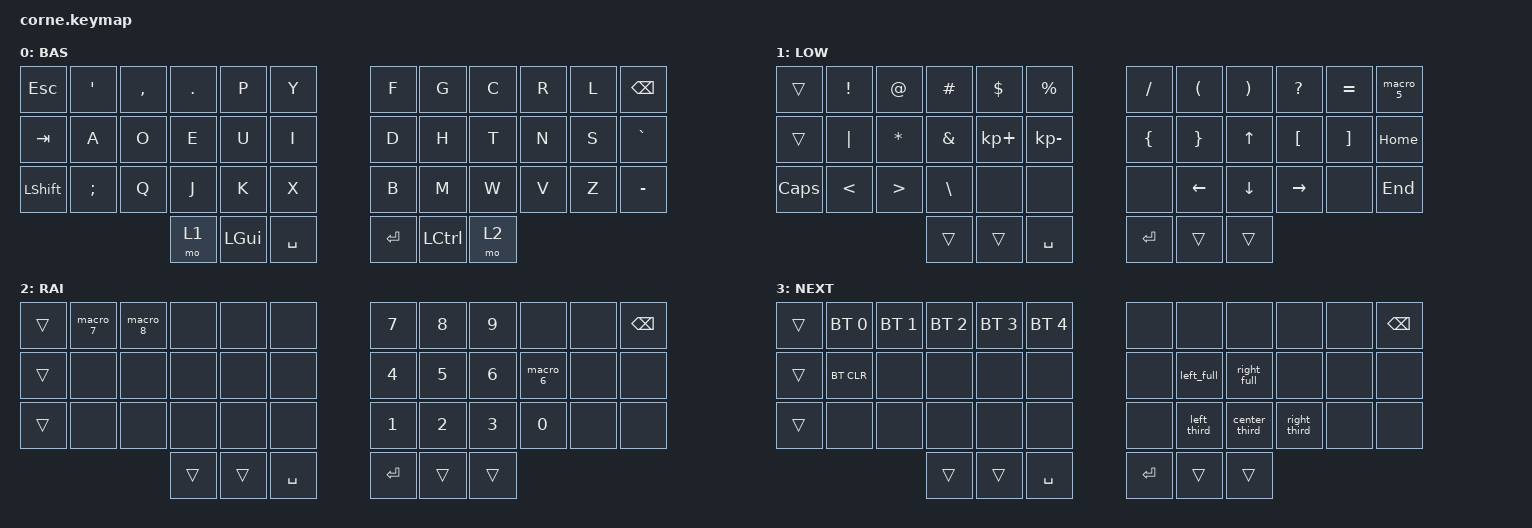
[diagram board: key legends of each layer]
/*
 * Copyright (c) 2020 The ZMK Contributors
 *
 * SPDX-License-Identifier: MIT
 */

#include <behaviors.dtsi>
#include <dt-bindings/zmk/keys.h>
#include <dt-bindings/zmk/bt.h>

/ {


        macros {

                // VIA macro 0: {KC_RALT,KC_LCTL,KC_RGHT}
                macro_0: macro_0 {
                        compatible = "zmk,behavior-macro";
                        #binding-cells = <0>;
                        bindings = <
                        &macro_press 
                        &kp RALT
                        &kp LCTRL
                        &kp RIGHT
                        >
                        ,<&macro_release  
                                &kp RALT
                                &kp LCTRL
                                &kp RIGHT     
                        >
                        ;
                };

                // VIA macro 1: {KC_RALT,KC_LCTL,KC_LEFT}
                macro_1: macro_1 {
                        compatible = "zmk,behavior-macro";
                        #binding-cells = <0>;
                        bindings = <
                        &macro_press 
                        &kp RALT
                        &kp LCTRL
                        &kp LEFT
                        >
                        ,<
                        &macro_release 
                        &kp RALT
                        &kp LCTRL
                        &kp LEFT
                        >
                        ;
                };

                // VIA macro 2: {KC_RALT,KC_LCTL,KC_ENT}
                macro_2: macro_2 {
                        compatible = "zmk,behavior-macro";
                        #binding-cells = <0>;
                        bindings = <
                        &macro_press 
                        &kp RALT
                        &kp LCTRL
                        &kp ENTER
                        >
                        ,<
                        &macro_release 
                        &kp RALT
                        &kp LCTRL
                        &kp ENTER
                        >
                        ;
                };

                // VIA macro 3: {KC_RALT,KC_LCTL,KC_UP}
                macro_3: macro_3 {
                        compatible = "zmk,behavior-macro";
                        #binding-cells = <0>;
                        bindings = <
                        &macro_press 
                        &kp RALT
                        &kp LCTRL
                        &kp UP
                        >
                        ,<
                        &macro_release
                        &kp RALT
                        &kp LCTRL
                        &kp UP
                        >
                        ;
                };

                // VIA macro 4: {KC_RALT,KC_LCTL,KC_DOWN}
                macro_4: macro_4 {
                        compatible = "zmk,behavior-macro";
                        #binding-cells = <0>;
                        bindings = <
                        &macro_press 
                        &kp RALT
                        &kp LCTRL
                        &kp DOWN
                        >,
                        <
                        &macro_release
                        &kp RALT
                        &kp LCTRL
                        &kp DOWN
                        >;
                };

                // VIA macro 5: {KC_RALT,KC_E}
                macro_5: macro_5 {
                        compatible = "zmk,behavior-macro";
                        #binding-cells = <0>;
                        bindings = <
                        &macro_press 
                        &kp RALT
                        &kp E
                        >
                        ,<
                        &macro_release 
                        &kp RALT
                        &kp E
                        >
                        ;
                };

                // VIA macro 6: {KC_RALT,KC_N}{KC_RALT}{KC_N}
                // (double ñ sequence on Spanish layout)
                macro_6: macro_6 {
                        compatible = "zmk,behavior-macro";
                        #binding-cells = <0>;
                        bindings = <
                        &macro_press 
                        &kp RALT
                        &kp N
                        >,
                        <
                        &macro_release
                        &kp RALT
                        &kp N
                        >
                        ;
                };

                // VIA macro 7: {KC_LGUI,KC_LALT,KC_ESC}
                macro_7: macro_7 {
                        compatible = "zmk,behavior-macro";
                        #binding-cells = <0>;
                        bindings = <
                                &macro_press 
                                &kp LGUI 
                                &kp LALT 
                                &kp ESC
                        >
                                ,<&macro_release                                 
                                &kp LGUI 
                                &kp LALT 
                                &kp ESC
                                >
                        ;
                };

                // VIA macro 8: {KC_RALT}p
                macro_8: macro_8 {
                        compatible = "zmk,behavior-macro";
                        #binding-cells = <0>;
                        bindings = <
                        &macro_press
                        &kp RALT
                        &kp P
                        >
                        ,<
                        &macro_release 
                        &kp RALT
                        &kp P
                        >;
                };


                center_third: center_third {
                        compatible = "zmk,behavior-macro";
                        #binding-cells = <0>;
                        bindings = <
                        &macro_press 
                        &kp RALT
                        &kp LCTRL
                        &kp F
                        >
                        ,<
                        &macro_release
                        &kp RALT
                        &kp LCTRL
                        &kp F
                        >
                        ;
                };

                left_third: left_third {
                        compatible = "zmk,behavior-macro";
                        #binding-cells = <0>;
                        bindings = <
                        &macro_press 
                        &kp RALT
                        &kp LCTRL
                        &kp D
                        >
                        ,<
                        &macro_release
                        &kp RALT
                        &kp LCTRL
                        &kp D
                        >
                        ;
                };
                
                right_third: right_third {
                        compatible = "zmk,behavior-macro";
                        #binding-cells = <0>;
                        bindings = <
                        &macro_press 
                        &kp RALT
                        &kp LCTRL
                        &kp G
                        >
                        ,<
                        &macro_release
                        &kp RALT
                        &kp LCTRL
                        &kp G
                        >
                        ;
                };

                right_full: right_full {
                        compatible = "zmk,behavior-macro";
                        #binding-cells = <0>;
                        bindings = <
                        &macro_press 
                        &kp RALT
                        &kp LCTRL
                        &kp T
                        >
                        ,<
                        &macro_release
                        &kp RALT
                        &kp LCTRL
                        &kp T
                        >
                        ;
                };

                left_full: left_full {
                        compatible = "zmk,behavior-macro";
                        #binding-cells = <0>;
                        bindings = <
                        &macro_press 
                        &kp RALT
                        &kp LCTRL
                        &kp E
                        >
                        ,<
                        &macro_release
                        &kp RALT
                        &kp LCTRL
                        &kp E
                        >
                        ;
                };

        };


        keymap {
                compatible = "zmk,keymap";

                default_layer {
                        display-name = "BAS";
                        bindings = <
                                &kp ESC   &kp SINGLE_QUOTE  &kp COMMA &kp DOT   &kp P   &kp Y    &kp F   &kp G    &kp C    &kp R    &kp L    &kp BACKSPACE
                                &kp TAB  &kp A &kp O &kp E     &kp U   &kp I    &kp D     &kp H    &kp T    &kp N &kp S    &kp GRAVE
                                &kp LEFT_SHIFT  &kp SEMICOLON    &kp Q     &kp J     &kp K   &kp X    &kp B &kp M    &kp W    &kp V    &kp Z    &kp MINUS
                                        &mo 1    &kp LEFT_GUI   &kp SPACE    &kp ENTER     &kp LEFT_CONTROL    &mo 2   
                >;

                };

                lower_layer {
                        display-name = "LOW";
                        bindings = <
                                &trans   &kp EXCL  &kp AT &kp HASH   &kp DLLR   &kp PRCNT    &kp SLASH   &kp LEFT_PARENTHESIS    &kp RIGHT_PARENTHESIS    &kp QUESTION    &kp EQUAL    &macro_5
                                &trans  &kp PIPE &kp ASTERISK &kp AMPERSAND     &kp KP_PLUS   &kp KP_MINUS    &kp LEFT_BRACE     &kp RIGHT_BRACE    &kp UP_ARROW    &kp LEFT_BRACKET &kp RIGHT_BRACKET    &kp HOME
                                &kp CAPSLOCK  &kp LESS_THAN    &kp GREATER_THAN     &kp BACKSLASH     &none   &none    &none &kp LEFT_ARROW    &kp DOWN_ARROW   &kp RIGHT_ARROW    &none    &kp END
                                        &trans     &trans   &kp SPACE    &kp ENTER     &trans    &trans   
                >;

                };

                raise_layer {
                        display-name = "RAI";
                        bindings = <
                                &trans   &macro_7  &macro_8 &none   &none   &none    &kp NUMBER_7   &kp NUMBER_8    &kp NUMBER_9    &none    &none    &kp BACKSPACE
                                &trans  &none &none &none     &none   &none    &kp NUMBER_4     &kp NUMBER_5    &kp NUMBER_6    &macro_6 &none    &none
                                &trans  &none    &none     &none     &none   &none    &kp NUMBER_1 &kp NUMBER_2    &kp NUMBER_3   &kp NUMBER_0    &none    &none
                                        &trans     &trans   &kp SPACE    &kp ENTER     &trans    &trans   
                >;

                };
                
                next_layes {
                        display-name = "NEXT";
                        bindings = <
                                &trans   &bt BT_SEL 0  &bt BT_SEL 1 &bt BT_SEL 2   &bt BT_SEL 3   &bt BT_SEL 4    &none   &none    &none    &none    &none    &kp BACKSPACE
                                &trans  &bt BT_CLR &none &none     &none   &none    &none     &left_full    &right_full    &none &none    &none
                                &trans  &none    &none     &none     &none   &none    &none &left_third    &center_third   &right_third   &none    &none
                                        &trans     &trans   &kp SPACE    &kp ENTER     &trans    &trans   
                >;

                };

                extra_1 {
                        status = "reserved";
                };

                extra_2 {
                        status = "reserved";
                };

                extra_3 {
                        status = "reserved";
                };
        };
};
